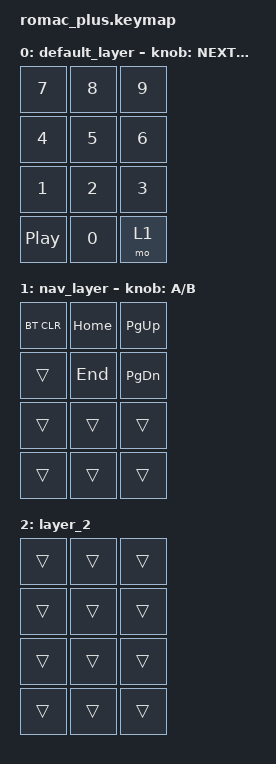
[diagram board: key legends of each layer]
/*
 * Copyright (c) 2020 The ZMK Contributors
 *
 * SPDX-License-Identifier: MIT
 */

#include <behaviors.dtsi>
#include <dt-bindings/zmk/bt.h>
#include <dt-bindings/zmk/keys.h>

/ {
    keymap {
        compatible = "zmk,keymap";

        default_layer {
            // --------------------------
            // | 7      |  8  |  9      |
            // | 4      |  5  |  6      |
            // | 1      |  2  |  3      |
            // | M_PLAY |  0  |  MO(1)  |
            // --------------------------

            bindings = <
&kp N7    &kp N8  &kp N9
&kp N4    &kp N5  &kp N6
&kp N1    &kp N2  &kp N3
&kp C_PP  &kp N0  &mo 1
            >;

            sensor-bindings = <&inc_dec_kp C_NEXT C_PREV>;
        };

        nav_layer {
            // --------------------------
            // | BT_CLR |  HOME |  PGUP |
            // | _      |  END  |  PGDN |
            // | _      |  _    |  _    |
            // | _      |  _    |  _    |
            // --------------------------

            bindings = <
&bt BT_CLR  &kp HOME  &kp PG_UP
&trans      &kp END   &kp PG_DN
&trans      &trans    &trans
&trans      &trans    &trans
            >;

            sensor-bindings = <&inc_dec_kp A B>;
        };

        layer_2 {
            bindings = <
&trans  &trans  &trans
&trans  &trans  &trans
&trans  &trans  &trans
&trans  &trans  &trans
            >;
        };
    };
};
